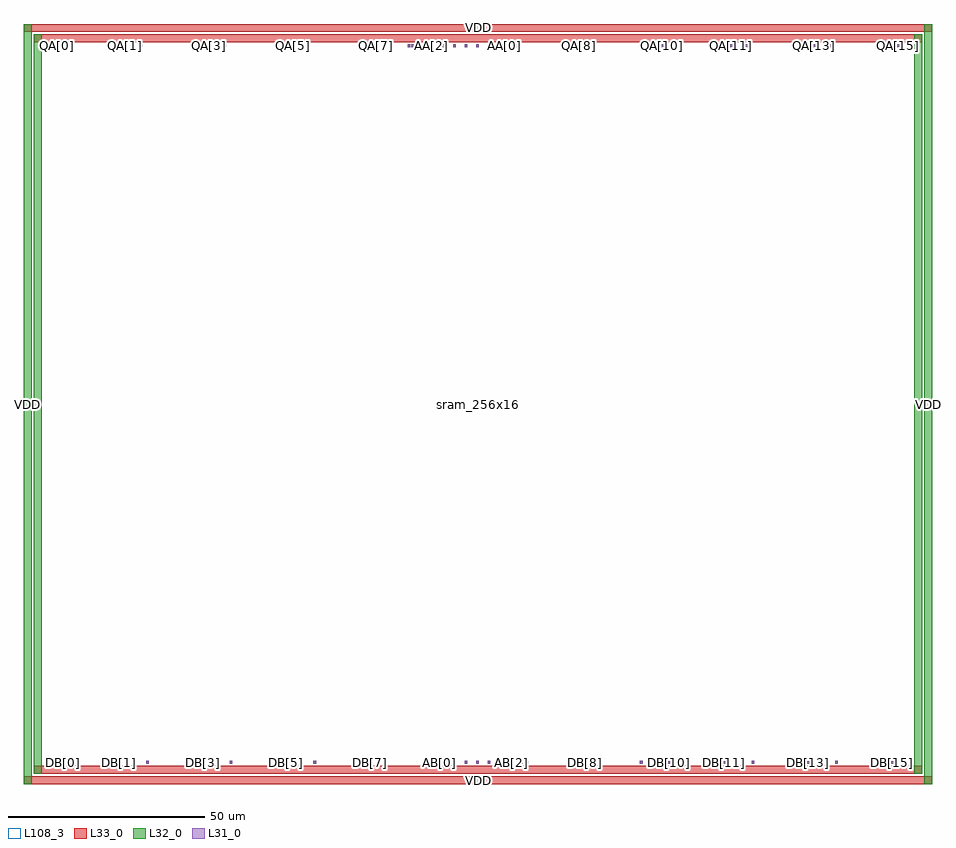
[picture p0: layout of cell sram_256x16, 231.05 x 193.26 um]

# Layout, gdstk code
import gdstk
lib = gdstk.Library(unit=1e-6, precision=1e-09)
def R(c, l, rs):  # rectangles x0, y0, x1, y1
    for r in rs: c.add(gdstk.rectangle(r[:2], r[2:], *l))
def A(c, l, x, y, w, h, nx, ny, dx, dy):  # array of equal rectangles
    R(c, l, [(x+i*dx, y+j*dy, x+i*dx+w, y+j*dy+h) for i in range(nx) for j in range(ny)])
L31_0 = (31, 0)
L32_0 = (32, 0)
L33_0 = (33, 0)
L108_3 = (108, 3)

sram_256x16 = lib.new_cell('sram_256x16')
A(sram_256x16, L31_0, 109.22, 5.2, 0.66, 0.66, 6, 1, 2.92, 0)
A(sram_256x16, L31_0, 103.38, 187.405, 0.66, 0.66, 6, 1, 2.92, 0)
R(sram_256x16, L31_0, [(9.835,5.2,10.495,5.86), (24.035,5.2,24.695,5.86), (31.115,5.2,31.775,5.86), (45.315,5.2,45.975,5.86), (52.395,5.2,53.055,5.86), (66.595,5.2,67.255,5.86), (73.675,5.2,74.335,5.86), (87.875,5.2,88.535,5.86), (102.44,5.2,103.1,5.86), (105.36,5.2,106.02,5.86), (126.205,5.2,126.865,5.86), (127.705,5.2,128.365,5.86), (142.515,5.2,143.175,5.86), (156.715,5.2,157.375,5.86), (163.795,5.2,164.455,5.86), (177.995,5.2,178.655,5.86), (185.075,5.2,185.735,5.86), (199.275,5.2,199.935,5.86), (206.355,5.2,207.015,5.86), (220.555,5.2,221.215,5.86), (8.235,187.405,8.895,188.065), (25.635,187.405,26.295,188.065), (29.515,187.405,30.175,188.065), (46.915,187.405,47.575,188.065), (50.795,187.405,51.455,188.065), (68.195,187.405,68.855,188.065), (72.075,187.405,72.735,188.065), (89.475,187.405,90.135,188.065), (97.655,187.405,98.315,188.065), (98.58,187.405,99.24,188.065), (121.84,187.405,122.5,188.065), (124.76,187.405,125.42,188.065), (140.915,187.405,141.575,188.065), (158.315,187.405,158.975,188.065), (162.195,187.405,162.855,188.065), (179.595,187.405,180.255,188.065), (183.475,187.405,184.135,188.065), (200.875,187.405,201.535,188.065), (204.755,187.405,205.415,188.065), (222.155,187.405,222.815,188.065)])
A(sram_256x16, L32_0, 109.22, 5.2, 0.66, 0.66, 6, 1, 2.92, 0)
A(sram_256x16, L32_0, 103.38, 187.405, 0.66, 0.66, 6, 1, 2.92, 0)
R(sram_256x16, L32_0, [(0,0,2,193.265), (229.05,0,231.05,193.265), (2.6,2.6,4.6,190.665), (226.45,2.6,228.45,190.665), (9.835,5.2,10.495,5.86), (24.035,5.2,24.695,5.86), (31.115,5.2,31.775,5.86), (45.315,5.2,45.975,5.86), (52.395,5.2,53.055,5.86), (66.595,5.2,67.255,5.86), (73.675,5.2,74.335,5.86), (87.875,5.2,88.535,5.86), (102.44,5.2,103.1,5.86), (105.36,5.2,106.02,5.86), (126.205,5.2,126.865,5.86), (127.705,5.2,128.365,5.86), (142.515,5.2,143.175,5.86), (156.715,5.2,157.375,5.86), (163.795,5.2,164.455,5.86), (177.995,5.2,178.655,5.86), (185.075,5.2,185.735,5.86), (199.275,5.2,199.935,5.86), (206.355,5.2,207.015,5.86), (220.555,5.2,221.215,5.86), (8.235,187.405,8.895,188.065), (25.635,187.405,26.295,188.065), (29.515,187.405,30.175,188.065), (46.915,187.405,47.575,188.065), (50.795,187.405,51.455,188.065), (68.195,187.405,68.855,188.065), (72.075,187.405,72.735,188.065), (89.475,187.405,90.135,188.065), (97.655,187.405,98.315,188.065), (98.58,187.405,99.24,188.065), (121.84,187.405,122.5,188.065), (124.76,187.405,125.42,188.065), (140.915,187.405,141.575,188.065), (158.315,187.405,158.975,188.065), (162.195,187.405,162.855,188.065), (179.595,187.405,180.255,188.065), (183.475,187.405,184.135,188.065), (200.875,187.405,201.535,188.065), (204.755,187.405,205.415,188.065), (222.155,187.405,222.815,188.065)])
A(sram_256x16, L33_0, 109.22, 5.2, 0.66, 0.66, 6, 1, 2.92, 0)
A(sram_256x16, L33_0, 103.38, 187.405, 0.66, 0.66, 6, 1, 2.92, 0)
R(sram_256x16, L33_0, [(0,0,231.05,2), (2.6,2.6,228.45,4.6), (9.835,5.2,10.495,5.86), (24.035,5.2,24.695,5.86), (31.115,5.2,31.775,5.86), (45.315,5.2,45.975,5.86), (52.395,5.2,53.055,5.86), (66.595,5.2,67.255,5.86), (73.675,5.2,74.335,5.86), (87.875,5.2,88.535,5.86), (102.44,5.2,103.1,5.86), (105.36,5.2,106.02,5.86), (126.205,5.2,126.865,5.86), (127.705,5.2,128.365,5.86), (142.515,5.2,143.175,5.86), (156.715,5.2,157.375,5.86), (163.795,5.2,164.455,5.86), (177.995,5.2,178.655,5.86), (185.075,5.2,185.735,5.86), (199.275,5.2,199.935,5.86), (206.355,5.2,207.015,5.86), (220.555,5.2,221.215,5.86), (8.235,187.405,8.895,188.065), (25.635,187.405,26.295,188.065), (29.515,187.405,30.175,188.065), (46.915,187.405,47.575,188.065), (50.795,187.405,51.455,188.065), (68.195,187.405,68.855,188.065), (72.075,187.405,72.735,188.065), (89.475,187.405,90.135,188.065), (97.655,187.405,98.315,188.065), (98.58,187.405,99.24,188.065), (121.84,187.405,122.5,188.065), (124.76,187.405,125.42,188.065), (140.915,187.405,141.575,188.065), (158.315,187.405,158.975,188.065), (162.195,187.405,162.855,188.065), (179.595,187.405,180.255,188.065), (183.475,187.405,184.135,188.065), (200.875,187.405,201.535,188.065), (204.755,187.405,205.415,188.065), (222.155,187.405,222.815,188.065), (2.6,188.665,228.45,190.665), (0,191.265,231.05,193.265)])
R(sram_256x16, L108_3, [(0,0,231.05,193.265)])
sram_256x16.add(gdstk.Label('sram_256x16', (115.525,96.632), layer=108, texttype=3))
sram_256x16.add(gdstk.Label('AA[0]', (122.17,187.735), layer=131, texttype=0))
sram_256x16.add(gdstk.Label('AA[0]', (122.17,187.735), layer=132, texttype=0))
sram_256x16.add(gdstk.Label('AA[0]', (122.17,187.735), layer=133, texttype=0))
sram_256x16.add(gdstk.Label('AA[1]', (125.09,187.735), layer=131, texttype=0))
sram_256x16.add(gdstk.Label('AA[1]', (125.09,187.735), layer=132, texttype=0))
sram_256x16.add(gdstk.Label('AA[1]', (125.09,187.735), layer=133, texttype=0))
sram_256x16.add(gdstk.Label('AA[2]', (103.71,187.735), layer=131, texttype=0))
sram_256x16.add(gdstk.Label('AA[2]', (103.71,187.735), layer=132, texttype=0))
sram_256x16.add(gdstk.Label('AA[2]', (103.71,187.735), layer=133, texttype=0))
sram_256x16.add(gdstk.Label('AA[3]', (106.63,187.735), layer=131, texttype=0))
sram_256x16.add(gdstk.Label('AA[3]', (106.63,187.735), layer=132, texttype=0))
sram_256x16.add(gdstk.Label('AA[3]', (106.63,187.735), layer=133, texttype=0))
sram_256x16.add(gdstk.Label('AA[4]', (109.55,187.735), layer=131, texttype=0))
sram_256x16.add(gdstk.Label('AA[4]', (109.55,187.735), layer=132, texttype=0))
sram_256x16.add(gdstk.Label('AA[4]', (109.55,187.735), layer=133, texttype=0))
sram_256x16.add(gdstk.Label('AA[5]', (112.47,187.735), layer=131, texttype=0))
sram_256x16.add(gdstk.Label('AA[5]', (112.47,187.735), layer=132, texttype=0))
sram_256x16.add(gdstk.Label('AA[5]', (112.47,187.735), layer=133, texttype=0))
sram_256x16.add(gdstk.Label('AA[6]', (115.39,187.735), layer=131, texttype=0))
sram_256x16.add(gdstk.Label('AA[6]', (115.39,187.735), layer=132, texttype=0))
sram_256x16.add(gdstk.Label('AA[6]', (115.39,187.735), layer=133, texttype=0))
sram_256x16.add(gdstk.Label('AA[7]', (118.31,187.735), layer=131, texttype=0))
sram_256x16.add(gdstk.Label('AA[7]', (118.31,187.735), layer=132, texttype=0))
sram_256x16.add(gdstk.Label('AA[7]', (118.31,187.735), layer=133, texttype=0))
sram_256x16.add(gdstk.Label('AB[0]', (105.69,5.53), layer=131, texttype=0))
sram_256x16.add(gdstk.Label('AB[0]', (105.69,5.53), layer=132, texttype=0))
sram_256x16.add(gdstk.Label('AB[0]', (105.69,5.53), layer=133, texttype=0))
sram_256x16.add(gdstk.Label('AB[1]', (102.77,5.53), layer=131, texttype=0))
sram_256x16.add(gdstk.Label('AB[1]', (102.77,5.53), layer=132, texttype=0))
sram_256x16.add(gdstk.Label('AB[1]', (102.77,5.53), layer=133, texttype=0))
sram_256x16.add(gdstk.Label('AB[2]', (124.15,5.53), layer=131, texttype=0))
sram_256x16.add(gdstk.Label('AB[2]', (124.15,5.53), layer=132, texttype=0))
sram_256x16.add(gdstk.Label('AB[2]', (124.15,5.53), layer=133, texttype=0))
sram_256x16.add(gdstk.Label('AB[3]', (121.23,5.53), layer=131, texttype=0))
sram_256x16.add(gdstk.Label('AB[3]', (121.23,5.53), layer=132, texttype=0))
sram_256x16.add(gdstk.Label('AB[3]', (121.23,5.53), layer=133, texttype=0))
sram_256x16.add(gdstk.Label('AB[4]', (118.31,5.53), layer=131, texttype=0))
sram_256x16.add(gdstk.Label('AB[4]', (118.31,5.53), layer=132, texttype=0))
sram_256x16.add(gdstk.Label('AB[4]', (118.31,5.53), layer=133, texttype=0))
sram_256x16.add(gdstk.Label('AB[5]', (115.39,5.53), layer=131, texttype=0))
sram_256x16.add(gdstk.Label('AB[5]', (115.39,5.53), layer=132, texttype=0))
sram_256x16.add(gdstk.Label('AB[5]', (115.39,5.53), layer=133, texttype=0))
sram_256x16.add(gdstk.Label('AB[6]', (112.47,5.53), layer=131, texttype=0))
sram_256x16.add(gdstk.Label('AB[6]', (112.47,5.53), layer=132, texttype=0))
sram_256x16.add(gdstk.Label('AB[6]', (112.47,5.53), layer=133, texttype=0))
sram_256x16.add(gdstk.Label('AB[7]', (109.55,5.53), layer=131, texttype=0))
sram_256x16.add(gdstk.Label('AB[7]', (109.55,5.53), layer=132, texttype=0))
sram_256x16.add(gdstk.Label('AB[7]', (109.55,5.53), layer=133, texttype=0))
sram_256x16.add(gdstk.Label('CENA', (98.91,187.735), layer=131, texttype=0))
sram_256x16.add(gdstk.Label('CENA', (98.91,187.735), layer=132, texttype=0))
sram_256x16.add(gdstk.Label('CENA', (98.91,187.735), layer=133, texttype=0))
sram_256x16.add(gdstk.Label('CENB', (126.535,5.53), layer=131, texttype=0))
sram_256x16.add(gdstk.Label('CENB', (126.535,5.53), layer=132, texttype=0))
sram_256x16.add(gdstk.Label('CENB', (126.535,5.53), layer=133, texttype=0))
sram_256x16.add(gdstk.Label('CLKA', (97.985,187.735), layer=131, texttype=0))
sram_256x16.add(gdstk.Label('CLKA', (97.985,187.735), layer=132, texttype=0))
sram_256x16.add(gdstk.Label('CLKA', (97.985,187.735), layer=133, texttype=0))
sram_256x16.add(gdstk.Label('CLKB', (128.035,5.53), layer=131, texttype=0))
sram_256x16.add(gdstk.Label('CLKB', (128.035,5.53), layer=132, texttype=0))
sram_256x16.add(gdstk.Label('CLKB', (128.035,5.53), layer=133, texttype=0))
sram_256x16.add(gdstk.Label('DB[0]', (10.165,5.53), layer=131, texttype=0))
sram_256x16.add(gdstk.Label('DB[0]', (10.165,5.53), layer=132, texttype=0))
sram_256x16.add(gdstk.Label('DB[0]', (10.165,5.53), layer=133, texttype=0))
sram_256x16.add(gdstk.Label('DB[10]', (164.125,5.53), layer=131, texttype=0))
sram_256x16.add(gdstk.Label('DB[10]', (164.125,5.53), layer=132, texttype=0))
sram_256x16.add(gdstk.Label('DB[10]', (164.125,5.53), layer=133, texttype=0))
sram_256x16.add(gdstk.Label('DB[11]', (178.325,5.53), layer=131, texttype=0))
sram_256x16.add(gdstk.Label('DB[11]', (178.325,5.53), layer=132, texttype=0))
sram_256x16.add(gdstk.Label('DB[11]', (178.325,5.53), layer=133, texttype=0))
sram_256x16.add(gdstk.Label('DB[12]', (185.405,5.53), layer=131, texttype=0))
sram_256x16.add(gdstk.Label('DB[12]', (185.405,5.53), layer=132, texttype=0))
sram_256x16.add(gdstk.Label('DB[12]', (185.405,5.53), layer=133, texttype=0))
sram_256x16.add(gdstk.Label('DB[13]', (199.605,5.53), layer=131, texttype=0))
sram_256x16.add(gdstk.Label('DB[13]', (199.605,5.53), layer=132, texttype=0))
sram_256x16.add(gdstk.Label('DB[13]', (199.605,5.53), layer=133, texttype=0))
sram_256x16.add(gdstk.Label('DB[14]', (206.685,5.53), layer=131, texttype=0))
sram_256x16.add(gdstk.Label('DB[14]', (206.685,5.53), layer=132, texttype=0))
sram_256x16.add(gdstk.Label('DB[14]', (206.685,5.53), layer=133, texttype=0))
sram_256x16.add(gdstk.Label('DB[15]', (220.885,5.53), layer=131, texttype=0))
sram_256x16.add(gdstk.Label('DB[15]', (220.885,5.53), layer=132, texttype=0))
sram_256x16.add(gdstk.Label('DB[15]', (220.885,5.53), layer=133, texttype=0))
sram_256x16.add(gdstk.Label('DB[1]', (24.365,5.53), layer=131, texttype=0))
sram_256x16.add(gdstk.Label('DB[1]', (24.365,5.53), layer=132, texttype=0))
sram_256x16.add(gdstk.Label('DB[1]', (24.365,5.53), layer=133, texttype=0))
sram_256x16.add(gdstk.Label('DB[2]', (31.445,5.53), layer=131, texttype=0))
sram_256x16.add(gdstk.Label('DB[2]', (31.445,5.53), layer=132, texttype=0))
sram_256x16.add(gdstk.Label('DB[2]', (31.445,5.53), layer=133, texttype=0))
sram_256x16.add(gdstk.Label('DB[3]', (45.645,5.53), layer=131, texttype=0))
sram_256x16.add(gdstk.Label('DB[3]', (45.645,5.53), layer=132, texttype=0))
sram_256x16.add(gdstk.Label('DB[3]', (45.645,5.53), layer=133, texttype=0))
sram_256x16.add(gdstk.Label('DB[4]', (52.725,5.53), layer=131, texttype=0))
sram_256x16.add(gdstk.Label('DB[4]', (52.725,5.53), layer=132, texttype=0))
sram_256x16.add(gdstk.Label('DB[4]', (52.725,5.53), layer=133, texttype=0))
sram_256x16.add(gdstk.Label('DB[5]', (66.925,5.53), layer=131, texttype=0))
sram_256x16.add(gdstk.Label('DB[5]', (66.925,5.53), layer=132, texttype=0))
sram_256x16.add(gdstk.Label('DB[5]', (66.925,5.53), layer=133, texttype=0))
sram_256x16.add(gdstk.Label('DB[6]', (74.005,5.53), layer=131, texttype=0))
sram_256x16.add(gdstk.Label('DB[6]', (74.005,5.53), layer=132, texttype=0))
sram_256x16.add(gdstk.Label('DB[6]', (74.005,5.53), layer=133, texttype=0))
sram_256x16.add(gdstk.Label('DB[7]', (88.205,5.53), layer=131, texttype=0))
sram_256x16.add(gdstk.Label('DB[7]', (88.205,5.53), layer=132, texttype=0))
sram_256x16.add(gdstk.Label('DB[7]', (88.205,5.53), layer=133, texttype=0))
sram_256x16.add(gdstk.Label('DB[8]', (142.845,5.53), layer=131, texttype=0))
sram_256x16.add(gdstk.Label('DB[8]', (142.845,5.53), layer=132, texttype=0))
sram_256x16.add(gdstk.Label('DB[8]', (142.845,5.53), layer=133, texttype=0))
sram_256x16.add(gdstk.Label('DB[9]', (157.045,5.53), layer=131, texttype=0))
sram_256x16.add(gdstk.Label('DB[9]', (157.045,5.53), layer=132, texttype=0))
sram_256x16.add(gdstk.Label('DB[9]', (157.045,5.53), layer=133, texttype=0))
sram_256x16.add(gdstk.Label('QA[0]', (8.565,187.735), layer=131, texttype=0))
sram_256x16.add(gdstk.Label('QA[0]', (8.565,187.735), layer=132, texttype=0))
sram_256x16.add(gdstk.Label('QA[0]', (8.565,187.735), layer=133, texttype=0))
sram_256x16.add(gdstk.Label('QA[10]', (162.525,187.735), layer=131, texttype=0))
sram_256x16.add(gdstk.Label('QA[10]', (162.525,187.735), layer=132, texttype=0))
sram_256x16.add(gdstk.Label('QA[10]', (162.525,187.735), layer=133, texttype=0))
sram_256x16.add(gdstk.Label('QA[11]', (179.925,187.735), layer=131, texttype=0))
sram_256x16.add(gdstk.Label('QA[11]', (179.925,187.735), layer=132, texttype=0))
sram_256x16.add(gdstk.Label('QA[11]', (179.925,187.735), layer=133, texttype=0))
sram_256x16.add(gdstk.Label('QA[12]', (183.805,187.735), layer=131, texttype=0))
sram_256x16.add(gdstk.Label('QA[12]', (183.805,187.735), layer=132, texttype=0))
sram_256x16.add(gdstk.Label('QA[12]', (183.805,187.735), layer=133, texttype=0))
sram_256x16.add(gdstk.Label('QA[13]', (201.205,187.735), layer=131, texttype=0))
sram_256x16.add(gdstk.Label('QA[13]', (201.205,187.735), layer=132, texttype=0))
sram_256x16.add(gdstk.Label('QA[13]', (201.205,187.735), layer=133, texttype=0))
sram_256x16.add(gdstk.Label('QA[14]', (205.085,187.735), layer=131, texttype=0))
sram_256x16.add(gdstk.Label('QA[14]', (205.085,187.735), layer=132, texttype=0))
sram_256x16.add(gdstk.Label('QA[14]', (205.085,187.735), layer=133, texttype=0))
sram_256x16.add(gdstk.Label('QA[15]', (222.485,187.735), layer=131, texttype=0))
sram_256x16.add(gdstk.Label('QA[15]', (222.485,187.735), layer=132, texttype=0))
sram_256x16.add(gdstk.Label('QA[15]', (222.485,187.735), layer=133, texttype=0))
sram_256x16.add(gdstk.Label('QA[1]', (25.965,187.735), layer=131, texttype=0))
sram_256x16.add(gdstk.Label('QA[1]', (25.965,187.735), layer=132, texttype=0))
sram_256x16.add(gdstk.Label('QA[1]', (25.965,187.735), layer=133, texttype=0))
sram_256x16.add(gdstk.Label('QA[2]', (29.845,187.735), layer=131, texttype=0))
sram_256x16.add(gdstk.Label('QA[2]', (29.845,187.735), layer=132, texttype=0))
sram_256x16.add(gdstk.Label('QA[2]', (29.845,187.735), layer=133, texttype=0))
sram_256x16.add(gdstk.Label('QA[3]', (47.245,187.735), layer=131, texttype=0))
sram_256x16.add(gdstk.Label('QA[3]', (47.245,187.735), layer=132, texttype=0))
sram_256x16.add(gdstk.Label('QA[3]', (47.245,187.735), layer=133, texttype=0))
sram_256x16.add(gdstk.Label('QA[4]', (51.125,187.735), layer=131, texttype=0))
sram_256x16.add(gdstk.Label('QA[4]', (51.125,187.735), layer=132, texttype=0))
sram_256x16.add(gdstk.Label('QA[4]', (51.125,187.735), layer=133, texttype=0))
sram_256x16.add(gdstk.Label('QA[5]', (68.525,187.735), layer=131, texttype=0))
sram_256x16.add(gdstk.Label('QA[5]', (68.525,187.735), layer=132, texttype=0))
sram_256x16.add(gdstk.Label('QA[5]', (68.525,187.735), layer=133, texttype=0))
sram_256x16.add(gdstk.Label('QA[6]', (72.405,187.735), layer=131, texttype=0))
sram_256x16.add(gdstk.Label('QA[6]', (72.405,187.735), layer=132, texttype=0))
sram_256x16.add(gdstk.Label('QA[6]', (72.405,187.735), layer=133, texttype=0))
sram_256x16.add(gdstk.Label('QA[7]', (89.805,187.735), layer=131, texttype=0))
sram_256x16.add(gdstk.Label('QA[7]', (89.805,187.735), layer=132, texttype=0))
sram_256x16.add(gdstk.Label('QA[7]', (89.805,187.735), layer=133, texttype=0))
sram_256x16.add(gdstk.Label('QA[8]', (141.245,187.735), layer=131, texttype=0))
sram_256x16.add(gdstk.Label('QA[8]', (141.245,187.735), layer=132, texttype=0))
sram_256x16.add(gdstk.Label('QA[8]', (141.245,187.735), layer=133, texttype=0))
sram_256x16.add(gdstk.Label('QA[9]', (158.645,187.735), layer=131, texttype=0))
sram_256x16.add(gdstk.Label('QA[9]', (158.645,187.735), layer=132, texttype=0))
sram_256x16.add(gdstk.Label('QA[9]', (158.645,187.735), layer=133, texttype=0))
sram_256x16.add(gdstk.Label('VDD', (115.525,192.265), layer=133, texttype=0))
sram_256x16.add(gdstk.Label('VDD', (115.525,1), layer=133, texttype=0))
sram_256x16.add(gdstk.Label('VDD', (230.05,96.632), layer=132, texttype=0))
sram_256x16.add(gdstk.Label('VDD', (1,96.632), layer=132, texttype=0))
sram_256x16.add(gdstk.Label('VSS', (115.525,189.665), layer=133, texttype=0))
sram_256x16.add(gdstk.Label('VSS', (115.525,3.6), layer=133, texttype=0))
sram_256x16.add(gdstk.Label('VSS', (227.45,96.632), layer=132, texttype=0))
sram_256x16.add(gdstk.Label('VSS', (3.6,96.632), layer=132, texttype=0))

lib.write_gds('sram_256x16.gds')
